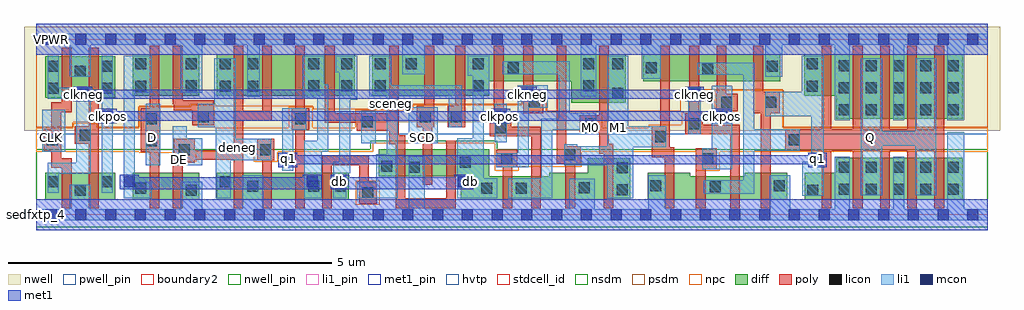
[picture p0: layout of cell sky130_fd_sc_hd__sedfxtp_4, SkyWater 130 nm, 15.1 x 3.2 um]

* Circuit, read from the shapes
.subckt sky130_fd_sc_hd__sedfxtp_4 CLK D DE Q SCD SCE VGND VNB VPB VPWR
XM1 VGND CLK n1 VNB sky130_fd_pr__nfet_01v8 w=0.42 l=0.15
XM2 n2 n1 VGND VNB sky130_fd_pr__nfet_01v8 w=0.42 l=0.15
XM3 n3 D n4 VNB sky130_fd_pr__nfet_01v8 w=0.42 l=0.15
XM4 VGND DE n3 VNB sky130_fd_pr__nfet_01v8 w=0.42 l=0.15
XM5 VGND DE n5 VNB sky130_fd_pr__nfet_01v8 w=0.42 l=0.15
XM6 n6 n5 VGND VNB sky130_fd_pr__nfet_01v8 w=0.42 l=0.15
XM7 n4 n7 n6 VNB sky130_fd_pr__nfet_01v8 w=0.42 l=0.15
XM8 n8 n9 n4 VNB sky130_fd_pr__nfet_01v8 w=0.42 l=0.15
XM9 VGND SCE n9 VNB sky130_fd_pr__nfet_01v8 w=0.42 l=0.15
XM10 n10 SCD VGND VNB sky130_fd_pr__nfet_01v8 w=0.42 l=0.15
XM11 n8 SCE n10 VNB sky130_fd_pr__nfet_01v8 w=0.42 l=0.15
XM12 n11 n1 n8 VNB sky130_fd_pr__nfet_01v8 w=0.36 l=0.15
XM13 n12 n2 n11 VNB sky130_fd_pr__nfet_01v8 w=0.36 l=0.15
XM14 VGND n13 n12 VNB sky130_fd_pr__nfet_01v8 w=0.42 l=0.15
XM15 n13 n11 VGND VNB sky130_fd_pr__nfet_01v8 w=0.64 l=0.15
XM16 n14 n13 VGND VNB sky130_fd_pr__nfet_01v8 w=0.42 l=0.15
XM17 n15 n2 n14 VNB sky130_fd_pr__nfet_01v8 w=0.36 l=0.15
XM18 n16 n1 n15 VNB sky130_fd_pr__nfet_01v8 w=0.36 l=0.15
XM19 VGND n7 n16 VNB sky130_fd_pr__nfet_01v8 w=0.42 l=0.15
XM20 VGND n15 n7 VNB sky130_fd_pr__nfet_01v8 w=0.42 l=0.15
XM21 Q n15 VGND VNB sky130_fd_pr__nfet_01v8 w=0.65 l=0.15 m=4
XM22 VPWR CLK n1 VPB sky130_fd_pr__pfet_01v8_hvt w=0.64 l=0.15
XM23 n2 n1 VPWR VPB sky130_fd_pr__pfet_01v8_hvt w=0.64 l=0.15
XM24 n17 D n4 VPB sky130_fd_pr__pfet_01v8_hvt w=0.64 l=0.15
XM25 VPWR n5 n17 VPB sky130_fd_pr__pfet_01v8_hvt w=0.64 l=0.15
XM26 VPWR DE n5 VPB sky130_fd_pr__pfet_01v8_hvt w=0.64 l=0.15
XM27 n18 DE VPWR VPB sky130_fd_pr__pfet_01v8_hvt w=0.64 l=0.15
XM28 n4 n7 n18 VPB sky130_fd_pr__pfet_01v8_hvt w=0.64 l=0.15
XM29 n8 SCE n4 VPB sky130_fd_pr__pfet_01v8_hvt w=0.64 l=0.15
XM30 VPWR SCE n9 VPB sky130_fd_pr__pfet_01v8_hvt w=0.64 l=0.15
XM31 n19 SCD VPWR VPB sky130_fd_pr__pfet_01v8_hvt w=0.64 l=0.15
XM32 n8 n9 n19 VPB sky130_fd_pr__pfet_01v8_hvt w=0.64 l=0.15
XM33 n11 n2 n8 VPB sky130_fd_pr__pfet_01v8_hvt w=0.42 l=0.15
XM34 n20 n1 n11 VPB sky130_fd_pr__pfet_01v8_hvt w=0.42 l=0.15
XM35 VPWR n13 n20 VPB sky130_fd_pr__pfet_01v8_hvt w=0.42 l=0.15
XM36 n13 n11 VPWR VPB sky130_fd_pr__pfet_01v8_hvt w=0.75 l=0.15
XM37 n21 n13 VPWR VPB sky130_fd_pr__pfet_01v8_hvt w=0.42 l=0.15
XM38 n15 n1 n21 VPB sky130_fd_pr__pfet_01v8_hvt w=0.42 l=0.15
XM39 n22 n2 n15 VPB sky130_fd_pr__pfet_01v8_hvt w=0.42 l=0.15
XM40 VPWR n7 n22 VPB sky130_fd_pr__pfet_01v8_hvt w=0.42 l=0.15
XM41 VPWR n15 n7 VPB sky130_fd_pr__pfet_01v8_hvt w=0.64 l=0.15
XM42 Q n15 VPWR VPB sky130_fd_pr__pfet_01v8_hvt w=1 l=0.15 m=4
.ends

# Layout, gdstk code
import gdstk
lib = gdstk.Library(unit=1e-6, precision=1e-09)
def R(c, l, rs):  # rectangles x0, y0, x1, y1
    for r in rs: c.add(gdstk.rectangle(r[:2], r[2:], *l))
def A(c, l, x, y, w, h, nx, ny, dx, dy):  # array of equal rectangles
    R(c, l, [(x+i*dx, y+j*dy, x+i*dx+w, y+j*dy+h) for i in range(nx) for j in range(ny)])
def P(c, l, *ps):  # polygons
    for p in ps: c.add(gdstk.Polygon(p, *l))
nwell_pin = (64, 16)
nwell = (64, 20)
diff = (65, 20)
poly = (66, 20)
licon = (66, 44)
li1_pin = (67, 16)
li1 = (67, 20)
mcon = (67, 44)
met1_pin = (68, 16)
met1 = (68, 20)
hvtp = (78, 44)
stdcell_id = (81, 4)
nsdm = (93, 44)
psdm = (94, 20)
npc = (95, 20)
pwell_pin = (122, 16)
boundary2 = (236, 0)

sky130_fd_sc_hd__sedfxtp = lib.new_cell('sky130_fd_sc_hd__sedfxtp_4')
R(sky130_fd_sc_hd__sedfxtp, nwell_pin, [(0.145,2.635,0.315,2.805), (0.145,2.635,0.315,2.805)])
P(sky130_fd_sc_hd__sedfxtp, nwell, [(14.91,2.91),(-0.19,2.91),(-0.19,1.305),(4.885,1.305),(4.885,1.435),(7.2,1.435),(7.2,1.305),(14.91,1.305)])
R(sky130_fd_sc_hd__sedfxtp, diff, [(0.135,0.235,1.225,0.655), (1.495,0.235,2.525,0.655), (2.795,0.235,4.835,0.655), (0.135,1.815,1.225,2.455), (1.495,1.845,2.525,2.485), (2.795,1.845,4.925,2.485), (9.39,2.065,11.51,2.485)])
P(sky130_fd_sc_hd__sedfxtp, diff, [(9.12,2.485),(5.195,2.485),(5.195,1.845),(7.005,1.845),(7.005,2.065),(8.275,2.065),(8.275,1.735),(9.12,1.735)],
  [(9.19,0.875),(8.53,0.875),(8.53,0.655),(7.935,0.655),(7.935,0.595),(7.005,0.595),(7.005,1.015),(5.3,1.015),(5.3,0.595),(6.565,0.595),(6.565,0.235),(9.19,0.235)],
  [(11.62,0.655),(10.96,0.655),(10.96,0.595),(10.12,0.595),(10.12,0.655),(9.46,0.655),(9.46,0.235),(11.62,0.235)],
  [(14.335,2.485),(11.88,2.485),(11.88,1.845),(12.375,1.845),(12.375,1.485),(14.335,1.485)],
  [(14.335,0.885),(12.375,0.885),(12.375,0.655),(11.89,0.655),(11.89,0.235),(14.335,0.235)])
P(sky130_fd_sc_hd__sedfxtp, poly, [(0.545,0.88),(0.385,0.88),(0.385,1.59),(0.545,1.59),(0.545,2.585),(0.395,2.585),(0.395,1.74),(0.235,1.74),(0.235,1.325),(0.115,1.325),(0.115,0.995),(0.235,0.995),(0.235,0.73),(0.395,0.73),(0.395,0.105),(0.545,0.105)],
  [(0.965,2.585),(0.815,2.585),(0.815,1.37),(0.595,1.37),(0.595,1.1),(0.815,1.1),(0.815,0.105),(0.965,0.105)],
  [(1.915,1.65),(1.905,1.65),(1.905,2.615),(1.755,2.615),(1.755,1.65),(1.615,1.65),(1.615,0.98),(1.755,0.98),(1.755,0.105),(1.905,0.105),(1.905,0.98),(1.915,0.98)],
  [(2.745,1.77),(2.265,1.77),(2.265,2.615),(2.115,2.615),(2.115,1.715),(2.125,1.715),(2.125,1.62),(2.415,1.62),(2.415,1.385),(2.745,1.385)],
  [(3.645,2.615),(3.495,2.615),(3.495,1.61),(3.205,1.61),(3.205,2.615),(3.055,2.615),(3.055,1),(2.455,1),(2.455,1.175),(2.125,1.175),(2.125,0.88),(2.115,0.88),(2.115,0.105),(2.265,0.105),(2.265,0.81),(2.455,0.81),(2.455,0.85),(3.055,0.85),(3.055,0.105),(3.205,0.105),(3.205,1.46),(3.645,1.46)],
  [(3.685,1.175),(3.415,1.175),(3.415,0.845),(3.495,0.845),(3.495,0.105),(3.645,0.105),(3.645,0.845),(3.685,0.845)],
  [(4.225,1.65),(4.155,1.65),(4.155,2.615),(4.005,2.615),(4.005,1.65),(3.955,1.65),(3.955,1.32),(4.005,1.32),(4.005,0.105),(4.155,0.105),(4.155,1.32),(4.225,1.32)],
  [(5.265,0.505),(5.145,0.505),(5.145,0.915),(4.425,0.915),(4.425,0.105),(4.575,0.105),(4.575,0.765),(4.995,0.765),(4.995,0.175),(5.265,0.175)],
  [(6.155,2.615),(6.005,2.615),(6.005,1.685),(5.885,1.685),(5.885,1.355),(5.98,1.355),(5.98,0.465),(6.13,0.465),(6.13,1.355),(6.155,1.355)],
  [(6.49,1.145),(6.34,1.145),(6.34,0.255),(5.71,0.255),(5.71,1.235),(5.61,1.235),(5.61,2.615),(5.46,2.615),(5.46,1.575),(4.615,1.575),(4.615,2.615),(4.465,2.615),(4.465,1.425),(4.955,1.425),(4.955,1.305),(5.46,1.305),(5.46,1.09),(5.56,1.09),(5.56,0.105),(6.49,0.105)],
  [(6.635,2.615),(6.485,2.615),(6.485,1.685),(6.365,1.685),(6.365,1.355),(6.635,1.355)],
  [(7.445,1.005),(7.115,1.005),(7.115,0.735),(7.215,0.735),(7.215,0.105),(7.365,0.105),(7.365,0.735),(7.445,0.735)],
  [(7.805,1.365),(7.345,1.365),(7.345,1.485),(7.23,1.485),(7.23,2.615),(7.08,2.615),(7.08,1.485),(7.015,1.485),(7.015,1.215),(7.655,1.215),(7.655,0.105),(7.805,0.105)],
  [(7.84,1.905),(7.685,1.905),(7.685,2.615),(7.535,2.615),(7.535,1.575),(7.84,1.575)],
  [(8.42,1.065),(8.2,1.065),(8.2,2.615),(8.05,2.615),(8.05,0.795),(8.185,0.795),(8.185,0.105),(8.335,0.105),(8.335,0.795),(8.42,0.795)],
  [(8.93,1.1),(8.86,1.1),(8.86,2.615),(8.71,2.615),(8.71,1.545),(8.41,1.545),(8.41,1.275),(8.71,1.275),(8.71,0.95),(8.78,0.95),(8.78,0.105),(8.93,0.105)],
  [(9.87,1.045),(9.8,1.045),(9.8,2.615),(9.65,2.615),(9.65,1.375),(9.525,1.375),(9.525,0.895),(9.72,0.895),(9.72,0.105),(9.87,0.105)],
  [(10.525,1.035),(10.205,1.035),(10.205,0.105),(10.355,0.105),(10.355,0.705),(10.525,0.705)],
  [(10.85,1.875),(10.675,1.875),(10.675,2.615),(10.525,2.615),(10.525,1.875),(10.52,1.875),(10.52,1.605),(10.85,1.605)],
  [(10.885,1.395),(10.31,1.395),(10.31,1.575),(10.255,1.575),(10.255,2.615),(10.105,2.615),(10.105,1.575),(10.04,1.575),(10.04,1.245),(10.735,1.245),(10.735,0.105),(10.885,0.105)],
  [(11.5,1.905),(11.245,1.905),(11.245,2.615),(11.095,2.615),(11.095,1.575),(11.21,1.575),(11.21,0.105),(11.36,0.105),(11.36,1.575),(11.5,1.575)],
  [(14.045,2.615),(13.895,2.615),(13.895,1.325),(13.625,1.325),(13.625,2.615),(13.475,2.615),(13.475,1.325),(13.205,1.325),(13.205,2.615),(13.055,2.615),(13.055,1.325),(12.785,1.325),(12.785,2.615),(12.635,2.615),(12.635,1.325),(12.3,1.325),(12.3,2.615),(12.15,2.615),(12.15,1.325),(11.59,1.325),(11.59,0.995),(12.15,0.995),(12.15,0.105),(12.3,0.105),(12.3,0.995),(12.635,0.995),(12.635,0.105),(12.785,0.105),(12.785,0.995),(13.055,0.995),(13.055,0.105),(13.205,0.105),(13.205,0.995),(13.475,0.995),(13.475,0.105),(13.625,0.105),(13.625,0.995),(13.895,0.995),(13.895,0.105),(14.045,0.105)])
A(sky130_fd_sc_hd__sedfxtp, licon, 12.415, 0.31, 0.17, 0.17, 4, 2, 0.42, 0.34)
A(sky130_fd_sc_hd__sedfxtp, licon, 12.415, 1.545, 0.17, 0.17, 4, 3, 0.42, 0.34)
A(sky130_fd_sc_hd__sedfxtp, licon, 14.105, 1.545, 0.17, 0.17, 1, 3, 0, 0.34)
R(sky130_fd_sc_hd__sedfxtp, licon, [(5.045,0.255,5.215,0.425), (0.595,0.295,0.765,0.465), (2.315,0.295,2.485,0.465), (11.93,0.3,12.1,0.47), (8.98,0.305,9.15,0.475), (14.105,0.31,14.275,0.48), (6.885,0.325,7.055,0.495), (7.415,0.325,7.585,0.495), (1.535,0.33,1.705,0.5), (8.39,0.335,8.56,0.505), (10.42,0.35,10.59,0.52), (3.265,0.36,3.435,0.53), (4.205,0.36,4.375,0.53), (4.625,0.36,4.795,0.53), (9.5,0.365,9.67,0.535), (11.41,0.365,11.58,0.535), (0.175,0.425,0.345,0.595), (1.015,0.425,1.185,0.595), (2.835,0.425,3.005,0.595), (8.98,0.645,9.15,0.815), (14.105,0.65,14.275,0.82), (5.76,0.655,5.93,0.825), (5.34,0.665,5.51,0.835), (6.55,0.73,6.72,0.9), (7.195,0.785,7.365,0.955), (10.305,0.785,10.475,0.955), (8.17,0.845,8.34,1.015), (2.205,0.925,2.375,1.095), (3.465,0.925,3.635,1.095), (1.695,1.06,1.865,1.23), (0.165,1.075,0.335,1.245), (11.64,1.075,11.81,1.245), (9.575,1.125,9.745,1.295), (0.675,1.15,0.845,1.32), (7.095,1.265,7.265,1.435), (8.49,1.325,8.66,1.495), (10.09,1.325,10.26,1.495), (5.035,1.355,5.205,1.525), (1.695,1.4,1.865,1.57), (4.005,1.4,4.175,1.57), (2.495,1.435,2.665,1.605), (5.935,1.435,6.105,1.605), (6.415,1.435,6.585,1.605), (7.62,1.655,7.79,1.825), (10.6,1.655,10.77,1.825), (11.28,1.655,11.45,1.825), (8.91,1.795,9.08,1.965), (0.175,1.875,0.345,2.045), (1.015,1.875,1.185,2.045), (1.535,1.905,1.705,2.075), (2.835,1.905,3.005,2.075), (3.265,1.905,3.435,2.075), (11.92,1.905,12.09,2.075), (2.315,1.915,2.485,2.085), (4.205,1.915,4.375,2.085), (4.715,1.915,4.885,2.085), (5.235,1.915,5.405,2.085), (6.755,1.915,6.925,2.085), (8.46,1.915,8.63,2.085), (0.595,2.135,0.765,2.305), (10.305,2.175,10.475,2.345), (7.295,2.19,7.465,2.36), (9.43,2.19,9.6,2.36), (0.175,2.215,0.345,2.385), (1.015,2.215,1.185,2.385), (11.3,2.215,11.47,2.385), (1.535,2.255,1.705,2.425), (2.315,2.255,2.485,2.425), (2.835,2.255,3.005,2.425), (3.265,2.255,3.435,2.425), (4.205,2.255,4.375,2.425), (4.715,2.255,4.885,2.425), (5.235,2.255,5.405,2.425), (5.72,2.255,5.89,2.425), (6.755,2.255,6.925,2.425), (8.46,2.255,8.63,2.425), (8.91,2.255,9.08,2.425), (11.92,2.255,12.09,2.425)])
R(sky130_fd_sc_hd__sedfxtp, li1_pin, [(2.13,0.765,2.3,0.935), (0.145,1.105,0.315,1.275), (1.72,1.105,1.89,1.275), (5.895,1.105,6.065,1.275), (12.815,1.105,12.985,1.275), (5.055,1.445,5.225,1.615)])
R(sky130_fd_sc_hd__sedfxtp, li1, [(1.015,0.345,1.185,2.465), (1.695,0.765,1.915,1.72), (0.095,0.975,0.445,1.625), (5.025,1.105,5.25,1.615), (5.76,1.105,6.215,1.665), (7.095,1.125,7.28,1.72), (10.09,1.245,10.28,1.965)])
P(sky130_fd_sc_hd__sedfxtp, li1, [(1.785,0.515),(1.525,0.515),(1.525,1.89),(1.785,1.89),(1.785,2.465),(1.355,2.465),(1.355,0.255),(1.785,0.255)],
  [(2.565,1.185),(2.325,1.185),(2.325,1.37),(2.11,1.37),(2.11,0.765),(2.565,0.765)],
  [(3.635,1.175),(3.085,1.175),(3.085,2.425),(2.755,2.425),(2.755,1.72),(2.495,1.72),(2.495,1.355),(2.78,1.355),(2.78,0.255),(3.005,0.255),(3.005,0.845),(3.635,0.845)],
  [(0.845,1.965),(0.345,1.965),(0.345,2.465),(0.175,2.465),(0.175,1.795),(0.615,1.795),(0.615,0.805),(0.175,0.805),(0.175,0.345),(0.345,0.345),(0.345,0.635),(0.845,0.635)],
  [(4.175,1.65),(3.805,1.65),(3.805,0.685),(3.975,0.685),(3.975,1.32),(4.175,1.32)],
  [(4.515,2.02),(4.455,2.02),(4.455,2.465),(4.125,2.465),(4.125,1.82),(4.345,1.82),(4.345,1.15),(4.145,1.15),(4.145,0.255),(4.415,0.255),(4.415,0.98),(4.515,0.98)],
  [(4.965,2.465),(4.635,2.465),(4.635,2.21),(4.685,2.21),(4.685,0.825),(4.595,0.825),(4.595,0.255),(4.795,0.255),(4.795,0.645),(4.855,0.645),(4.855,1.785),(4.965,1.785)],
  [(6.585,2.005),(5.495,2.005),(5.495,2.465),(5.155,2.465),(5.155,1.835),(5.42,1.835),(5.42,0.935),(5.26,0.935),(5.26,0.515),(4.965,0.515),(4.965,0.255),(5.59,0.255),(5.59,1.835),(6.385,1.835),(6.385,1.355),(6.585,1.355)],
  [(7.135,0.565),(6.925,0.565),(6.925,1.865),(7.005,1.865),(7.005,2.465),(6.675,2.465),(6.675,2.15),(6.755,2.15),(6.755,1.185),(6.515,1.185),(6.515,0.255),(7.135,0.255)],
  [(7.915,2.005),(7.45,2.005),(7.45,0.955),(7.115,0.955),(7.115,0.735),(7.62,0.735),(7.62,1.655),(7.915,1.655)],
  [(8.66,1.575),(8.255,1.575),(8.255,2.375),(7.215,2.375),(7.215,2.175),(8.085,2.175),(8.085,1.485),(7.81,1.485),(7.81,0.565),(7.305,0.565),(7.305,0.255),(7.98,0.255),(7.98,1.315),(8.49,1.315),(8.49,1.245),(8.66,1.245)],
  [(9.745,1.375),(9.16,1.375),(9.16,2.465),(8.83,2.465),(8.83,1.065),(8.37,1.065),(8.37,1.095),(8.17,1.095),(8.17,0.765),(8.83,0.765),(8.83,0.255),(9.235,0.255),(9.235,1.045),(9.745,1.045)],
  [(10.77,1.995),(10.45,1.995),(10.45,1.035),(10.305,1.035),(10.305,0.705),(10.77,0.705)],
  [(11.81,1.325),(11.11,1.325),(11.11,2.355),(10.225,2.355),(10.225,2.165),(10.94,2.165),(10.94,0.535),(10.325,0.535),(10.325,0.33),(11.11,0.33),(11.11,0.995),(11.81,0.995)],
  [(12.18,2.465),(11.84,2.465),(11.84,1.905),(11.28,1.905),(11.28,1.53),(11.99,1.53),(11.99,0.825),(11.85,0.825),(11.85,0.3),(12.18,0.3)],
  [(13.925,2.42),(13.595,2.42),(13.595,1.295),(13.085,1.295),(13.085,2.42),(12.755,2.42),(12.755,0.305),(13.085,0.305),(13.085,1.07),(13.595,1.07),(13.595,0.305),(13.925,0.305)],
  [(14.72,0.085),(14.355,0.085),(14.355,1.28),(14.095,1.28),(14.095,0.085),(13.425,0.085),(13.425,0.9),(13.255,0.9),(13.255,0.085),(12.585,0.085),(12.585,0.9),(12.35,0.9),(12.35,0.085),(11.665,0.085),(11.665,0.615),(11.35,0.615),(11.35,0.085),(9.74,0.085),(9.74,0.615),(9.465,0.615),(9.465,0.085),(8.64,0.085),(8.64,0.56),(8.245,0.56),(8.245,0.085),(6.01,0.085),(6.01,0.905),(5.76,0.905),(5.76,0.085),(3.515,0.085),(3.515,0.61),(3.185,0.61),(3.185,0.085),(2.565,0.085),(2.565,0.515),(2.235,0.515),(2.235,0.085),(0.845,0.085),(0.845,0.465),(0.515,0.465),(0.515,0.085),(0,0.085),(0,-0.085),(14.72,-0.085)],
  [(14.72,2.805),(0,2.805),(0,2.635),(0.515,2.635),(0.515,2.135),(0.845,2.135),(0.845,2.635),(2.235,2.635),(2.235,1.89),(2.565,1.89),(2.565,2.635),(3.265,2.635),(3.265,1.825),(3.46,1.825),(3.46,2.635),(5.665,2.635),(5.665,2.175),(6.01,2.175),(6.01,2.635),(8.425,2.635),(8.425,1.835),(8.66,1.835),(8.66,2.635),(9.37,2.635),(9.37,2.105),(9.66,2.105),(9.66,2.635),(11.28,2.635),(11.28,2.135),(11.54,2.135),(11.54,2.635),(12.35,2.635),(12.35,1.465),(12.585,1.465),(12.585,2.635),(13.255,2.635),(13.255,1.465),(13.425,1.465),(13.425,2.635),(14.095,2.635),(14.095,1.465),(14.355,1.465),(14.355,2.635),(14.72,2.635)])
A(sky130_fd_sc_hd__sedfxtp, mcon, 0.145, -0.085, 0.17, 0.17, 32, 2, 0.46, 2.72)
R(sky130_fd_sc_hd__sedfxtp, mcon, [(1.355,0.425,1.525,0.595), (4.185,0.425,4.355,0.595), (4.615,0.425,4.785,0.595), (6.53,0.425,6.7,0.595), (3.805,0.765,3.975,0.935), (12,0.765,12.17,0.935), (1.015,1.445,1.185,1.615), (7.1,1.445,7.27,1.615), (10.52,1.445,10.69,1.615), (0.635,1.785,0.805,1.955), (7.51,1.785,7.68,1.955), (10.1,1.785,10.27,1.955)])
R(sky130_fd_sc_hd__sedfxtp, met1_pin, [(0.145,-0.085,0.315,0.085), (0.145,2.635,0.315,2.805)])
R(sky130_fd_sc_hd__sedfxtp, met1, [(0,-0.24,14.72,0.24), (0,2.48,14.72,2.96)])
P(sky130_fd_sc_hd__sedfxtp, met1, [(10.33,1.985),(10.04,1.985),(10.04,1.94),(7.74,1.94),(7.74,1.985),(7.45,1.985),(7.45,1.94),(0.865,1.94),(0.865,1.985),(0.575,1.985),(0.575,1.755),(0.865,1.755),(0.865,1.8),(7.45,1.8),(7.45,1.755),(7.74,1.755),(7.74,1.8),(10.04,1.8),(10.04,1.755),(10.33,1.755)],
  [(6.76,0.625),(6.47,0.625),(6.47,0.58),(4.845,0.58),(4.845,0.625),(4.555,0.625),(4.555,0.395),(6.76,0.395)],
  [(4.415,0.625),(4.125,0.625),(4.125,0.58),(1.585,0.58),(1.585,0.625),(1.295,0.625),(1.295,0.395),(4.415,0.395)],
  [(10.75,1.645),(10.46,1.645),(10.46,1.6),(7.33,1.6),(7.33,1.645),(7.04,1.645),(7.04,1.6),(1.245,1.6),(1.245,1.645),(0.955,1.645),(0.955,1.415),(1.245,1.415),(1.245,1.46),(7.04,1.46),(7.04,1.415),(7.33,1.415),(7.33,1.46),(10.46,1.46),(10.46,1.415),(10.75,1.415)],
  [(12.23,0.965),(11.94,0.965),(11.94,0.92),(4.035,0.92),(4.035,0.965),(3.745,0.965),(3.745,0.735),(4.035,0.735),(4.035,0.78),(11.94,0.78),(11.94,0.735),(12.23,0.735)])
R(sky130_fd_sc_hd__sedfxtp, hvtp, [(0,1.25,14.72,2.72)])
R(sky130_fd_sc_hd__sedfxtp, stdcell_id, [(0,0,14.72,2.72)])
P(sky130_fd_sc_hd__sedfxtp, nsdm, [(14.72,1.015),(7.135,1.015),(7.135,1.145),(5.17,1.145),(5.17,1.015),(0,1.015),(0,-0.19),(14.72,-0.19)])
P(sky130_fd_sc_hd__sedfxtp, psdm, [(14.72,2.91),(0,2.91),(0,1.355),(0.565,1.355),(0.565,1.43),(0.955,1.43),(0.955,1.355),(1.585,1.355),(1.585,1.68),(2.385,1.68),(2.385,1.715),(2.775,1.715),(2.775,1.68),(4.285,1.68),(4.285,1.635),(5.825,1.635),(5.825,1.715),(7.51,1.715),(7.51,1.935),(7.9,1.935),(7.9,1.605),(9.97,1.605),(9.97,1.935),(11.56,1.935),(11.56,1.355),(14.72,1.355)])
R(sky130_fd_sc_hd__sedfxtp, npc, [(4.945,0.155,5.315,0.525)])
P(sky130_fd_sc_hd__sedfxtp, npc, [(14.72,1.345),(11.55,1.345),(11.55,1.925),(10.5,1.925),(10.5,1.595),(9.99,1.595),(9.99,1.395),(9.475,1.395),(9.475,1.345),(8.76,1.345),(8.76,1.595),(7.89,1.595),(7.89,1.925),(7.52,1.925),(7.52,1.705),(5.835,1.705),(5.835,1.625),(4.935,1.625),(4.935,1.345),(4.275,1.345),(4.275,1.67),(3.905,1.67),(3.905,1.345),(2.765,1.345),(2.765,1.705),(2.395,1.705),(2.395,1.67),(1.595,1.67),(1.595,1.345),(0.945,1.345),(0.945,1.42),(0.575,1.42),(0.575,1.345),(0,1.345),(0,0.975),(1.595,0.975),(1.595,0.96),(2.105,0.96),(2.105,0.825),(2.475,0.825),(2.475,0.975),(3.365,0.975),(3.365,0.825),(3.735,0.825),(3.735,0.975),(5.21,0.975),(5.21,1.105),(7.095,1.105),(7.095,0.685),(7.465,0.685),(7.465,0.745),(8.44,0.745),(8.44,0.975),(10.205,0.975),(10.205,0.685),(10.575,0.685),(10.575,0.975),(14.72,0.975)])
R(sky130_fd_sc_hd__sedfxtp, pwell_pin, [(0.145,-0.085,0.315,0.085), (0.145,-0.085,0.315,0.085)])
R(sky130_fd_sc_hd__sedfxtp, boundary2, [(0,0,14.72,2.72)])
sky130_fd_sc_hd__sedfxtp.add(gdstk.Label('sedfxtp_4', (0,0), layer=83, texttype=44))
sky130_fd_sc_hd__sedfxtp.add(gdstk.Label('clkpos', (7.165,1.52), layer=83, texttype=44))
sky130_fd_sc_hd__sedfxtp.add(gdstk.Label('clkneg', (7.6,1.87), layer=83, texttype=44))
sky130_fd_sc_hd__sedfxtp.add(gdstk.Label('q1', (12.085,0.87), layer=83, texttype=44))
sky130_fd_sc_hd__sedfxtp.add(gdstk.Label('clkpos', (1.095,1.52), layer=83, texttype=44))
sky130_fd_sc_hd__sedfxtp.add(gdstk.Label('clkneg', (0.735,1.87), layer=83, texttype=44))
sky130_fd_sc_hd__sedfxtp.add(gdstk.Label('deneg', (3.115,1.045), layer=83, texttype=44))
sky130_fd_sc_hd__sedfxtp.add(gdstk.Label('db', (4.695,0.52), layer=83, texttype=44))
sky130_fd_sc_hd__sedfxtp.add(gdstk.Label('q1', (3.9,0.87), layer=83, texttype=44))
sky130_fd_sc_hd__sedfxtp.add(gdstk.Label('clkpos', (10.6,1.52), layer=83, texttype=44))
sky130_fd_sc_hd__sedfxtp.add(gdstk.Label('clkneg', (10.185,1.87), layer=83, texttype=44))
sky130_fd_sc_hd__sedfxtp.add(gdstk.Label('db', (6.715,0.52), layer=83, texttype=44))
sky130_fd_sc_hd__sedfxtp.add(gdstk.Label('S0', (11.025,1.345), layer=83, texttype=44))
sky130_fd_sc_hd__sedfxtp.add(gdstk.Label('sceneg', (5.495,1.72), layer=83, texttype=44))
sky130_fd_sc_hd__sedfxtp.add(gdstk.Label('M0', (8.58,1.345), layer=83, texttype=44))
sky130_fd_sc_hd__sedfxtp.add(gdstk.Label('M1', (9.01,1.345), layer=83, texttype=44))
sky130_fd_sc_hd__sedfxtp.add(gdstk.Label('VPWR', (0.23,2.72), layer=68, texttype=5))
sky130_fd_sc_hd__sedfxtp.add(gdstk.Label('VGND', (0.23,0), layer=68, texttype=5))
sky130_fd_sc_hd__sedfxtp.add(gdstk.Label('CLK', (0.23,1.19), layer=67, texttype=5))
sky130_fd_sc_hd__sedfxtp.add(gdstk.Label('SCD', (5.98,1.19), layer=67, texttype=5))
sky130_fd_sc_hd__sedfxtp.add(gdstk.Label('DE', (2.215,0.85), layer=67, texttype=5))
sky130_fd_sc_hd__sedfxtp.add(gdstk.Label('D', (1.805,1.19), layer=67, texttype=5))
sky130_fd_sc_hd__sedfxtp.add(gdstk.Label('Q', (12.9,1.19), layer=67, texttype=5))
sky130_fd_sc_hd__sedfxtp.add(gdstk.Label('SCE', (5.14,1.53), layer=67, texttype=5))
sky130_fd_sc_hd__sedfxtp.add(gdstk.Label('VPB', (0.23,2.72), layer=64, texttype=5))
sky130_fd_sc_hd__sedfxtp.add(gdstk.Label('VPB', (0.23,2.72), layer=64, texttype=5))
sky130_fd_sc_hd__sedfxtp.add(gdstk.Label('VNB', (0.23,0), layer=64, texttype=59))
sky130_fd_sc_hd__sedfxtp.add(gdstk.Label('VNB', (0.23,0), layer=64, texttype=59))
sky130_fd_sc_hd__sedfxtp.add(gdstk.Label('VNB', (0.23,0), layer=64, texttype=59))

lib.write_gds('sky130_fd_sc_hd__sedfxtp_4.gds')
